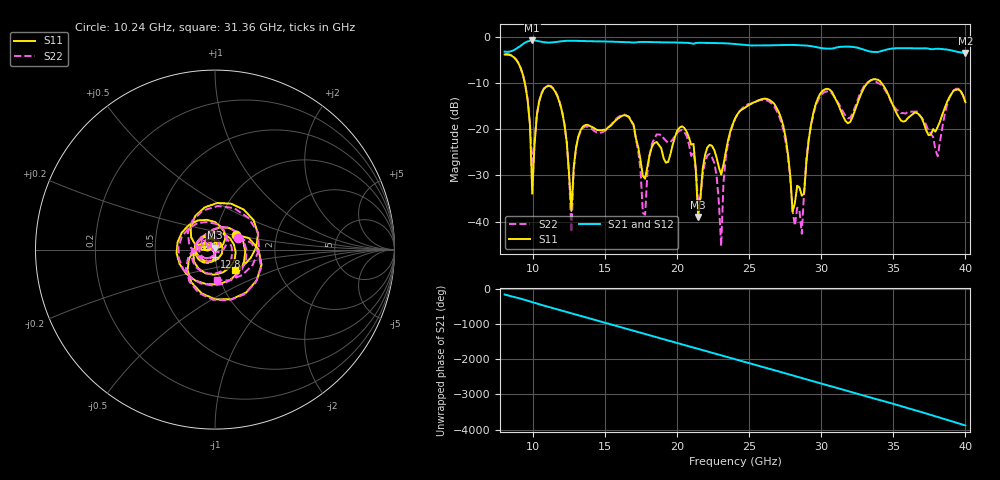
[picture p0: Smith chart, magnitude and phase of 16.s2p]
!Agilent Technologies,N5227A,US51270464,A.10.00.00
!Agilent N5227A: A.10.00.00
!Date: Thursday, July 23, 2020 14:54:18
!Correction: S11(Full 2 Port(1,2))
!S21(Full 2 Port(1,2))
!S12(Full 2 Port(1,2))
!S22(Full 2 Port(1,2))
!S2P File: Measurements: S11, S21, S12, S22:
# Hz S  RI  R 50
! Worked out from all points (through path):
!   201 points, 8 GHz to 40 GHz, reference 50 ohm
!   highest |S21| = -0.76 dB at 9.92 GHz (marker M1); lowest = -3.5 dB at 40 GHz (marker M2)
!   lowest |S11| = -39.0 dB at 21.44 GHz (marker M3), VSWR 1.02, Z = 49.9 + j1.12 ohm
!   |S11| at or under -10 dB: 9.403 GHz to 33.2 GHz (23.79 GHz wide, 112 % of centre); 34.18 GHz to end of sweep
!   |S22| runs from -45.3 to -3.8 dB; largest |S21 - S12| = 0.00059
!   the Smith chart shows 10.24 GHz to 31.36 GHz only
!   S11 on the Smith chart (normalised r, x): 10.24 GHz: 1.24, +0.21; 12.8 GHz: 0.99, -0.08; 31.36 GHz: 1.21, -0.28
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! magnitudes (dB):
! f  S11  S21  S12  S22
! 8 GHz  -3.8  -3.2  -3.2  -3.8
! 9.44 GHz  -10.5  -1.2  -1.2  -10.4
! 9.92 GHz  -34.0  -0.8  -0.8  -28.0
! 10.24 GHz  -17.0  -0.8  -0.8  -16.8
! 11.84 GHz  -14.4  -1.0  -1.0  -14.3
! 12.64 GHz  -37.7  -0.8  -0.8  -42.3
! 12.8 GHz  -28.3  -0.8  -0.8  -28.5
! 13.44 GHz  -19.4  -0.9  -0.9  -19.7
! 16.64 GHz  -17.4  -1.1  -1.1  -17.3
! 17.76 GHz  -30.7  -1.1  -1.1  -38.5
! 18.72 GHz  -23.4  -1.1  -1.1  -21.1
! 21.12 GHz  -23.2  -1.5  -1.5  -24.9
! 21.44 GHz  -39.0  -1.3  -1.3  -35.7
! 22.4 GHz  -23.6  -1.3  -1.3  -26.1
! 23.04 GHz  -29.8  -1.4  -1.4  -45.3
! 24 GHz  -17.7  -1.5  -1.5  -17.8
! 26.72 GHz  -14.5  -1.8  -1.8  -15.0
! 28.64 GHz  -34.4  -1.8  -1.8  -42.6
! 29.44 GHz  -16.5  -2.1  -2.1  -16.9
! 31.36 GHz  -16.1  -2.1  -2.1  -15.4
! 34.72 GHz  -13.1  -2.6  -2.6  -13.2
! 40 GHz  -14.2  -3.5  -3.5  -14.0
